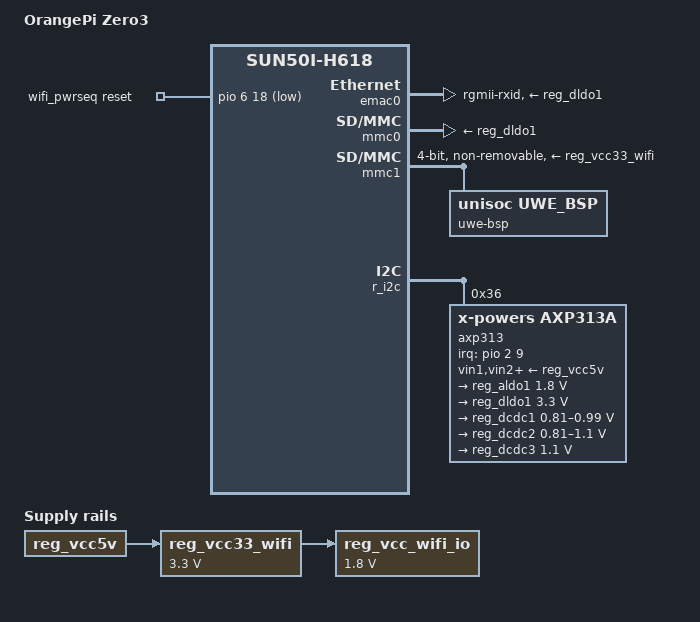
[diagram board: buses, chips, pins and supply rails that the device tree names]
// SPDX-License-Identifier: (GPL-2.0+ OR MIT)
/*
 * Copyright (C) 2023 Arm Ltd.
 */

/dts-v1/;

#include "sun50i-h616-orangepi-zero.dtsi"

/ {
	model = "OrangePi Zero3";
	compatible = "xunlong,orangepi-zero3", "allwinner,sun50i-h618";

	reg_vcc33_wifi: vcc33-wifi {
		/* Always on 3.3V regulator for WiFi and BT */
		compatible = "regulator-fixed";
		regulator-name = "vcc33-wifi";
		regulator-min-microvolt = <3300000>;
		regulator-max-microvolt = <3300000>;
		regulator-always-on;
		vin-supply = <&reg_vcc5v>;
	};
	
	reg_vcc_wifi_io: vcc-wifi-io {
		/* Always on 1.8V/300mA regulator for WiFi and BT IO */
		compatible = "regulator-fixed";
		regulator-name = "vcc-wifi-io";
		regulator-min-microvolt = <1800000>;
		regulator-max-microvolt = <1800000>;
		regulator-always-on;
		vin-supply = <&reg_vcc33_wifi>;
	};

	wifi_pwrseq: wifi-pwrseq {
		compatible = "mmc-pwrseq-simple";
		//clocks = <&rtc 1>;
		//clock-names = "ext_clock";
		reset-gpios = <&pio 6 18 GPIO_ACTIVE_LOW>; /* PG18 */
		post-power-on-delay-ms = <200>;
	};

};

&emac0 {
	allwinner,tx-delay-ps = <700>;
	phy-mode = "rgmii-rxid";
	phy-supply = <&reg_dldo1>;
};

&ext_rgmii_phy {
	motorcomm,clk-out-frequency-hz = <125000000>;
};

&mmc0 {
	/*
	 * The schematic shows the card detect pin wired up to PF6, via an
	 * inverter, but it just doesn't work.
	 */
	broken-cd;
	vmmc-supply = <&reg_dldo1>;
};

&mmc1 {
vmmc-supply = <&reg_vcc33_wifi>;
	vqmmc-supply = <&reg_vcc_wifi_io>;
	mmc-pwrseq = <&wifi_pwrseq>;
	bus-width = <4>;
	non-removable;
	mmc-ddr-1_8v;
	status = "okay";

	uwe-bsp {
		compatible = "unisoc,uwe_bsp";
		keep-power-on;
		data-irq;
		//adma-tx;
		adma-rx;
		//blksz-512;
		status = "okay";
	};
};

&r_i2c {
	status = "okay";

	axp313: pmic@36 {
		compatible = "x-powers,axp313a";
		reg = <0x36>;
		#interrupt-cells = <1>;
		interrupt-controller;
		interrupt-parent = <&pio>;
		interrupts = <2 9 IRQ_TYPE_LEVEL_LOW>;	/* PC9 */

		vin1-supply = <&reg_vcc5v>;
		vin2-supply = <&reg_vcc5v>;
		vin3-supply = <&reg_vcc5v>;

		regulators {
			/* Supplies VCC-PLL, so needs to be always on. */
			reg_aldo1: aldo1 {
				regulator-always-on;
				regulator-min-microvolt = <1800000>;
				regulator-max-microvolt = <1800000>;
				regulator-name = "vcc1v8";
			};

			/* Supplies VCC-IO, so needs to be always on. */
			reg_dldo1: dldo1 {
				regulator-always-on;
				regulator-min-microvolt = <3300000>;
				regulator-max-microvolt = <3300000>;
				regulator-name = "vcc3v3";
			};

			reg_dcdc1: dcdc1 {
				regulator-always-on;
				regulator-min-microvolt = <810000>;
				regulator-max-microvolt = <990000>;
				regulator-name = "vdd-gpu-sys";
			};

			reg_dcdc2: dcdc2 {
				regulator-always-on;
				regulator-min-microvolt = <810000>;
				regulator-max-microvolt = <1100000>;
				regulator-name = "vdd-cpu";
			};

			reg_dcdc3: dcdc3 {
				regulator-always-on;
				regulator-min-microvolt = <1100000>;
				regulator-max-microvolt = <1100000>;
				regulator-name = "vdd-dram";
				
				
				
			};
		};
	};
};

&pio {
	vcc-pc-supply = <&reg_dldo1>;
	vcc-pf-supply = <&reg_dldo1>;
	vcc-pg-supply = <&reg_aldo1>;
	vcc-ph-supply = <&reg_dldo1>;
	vcc-pi-supply = <&reg_dldo1>;
};
